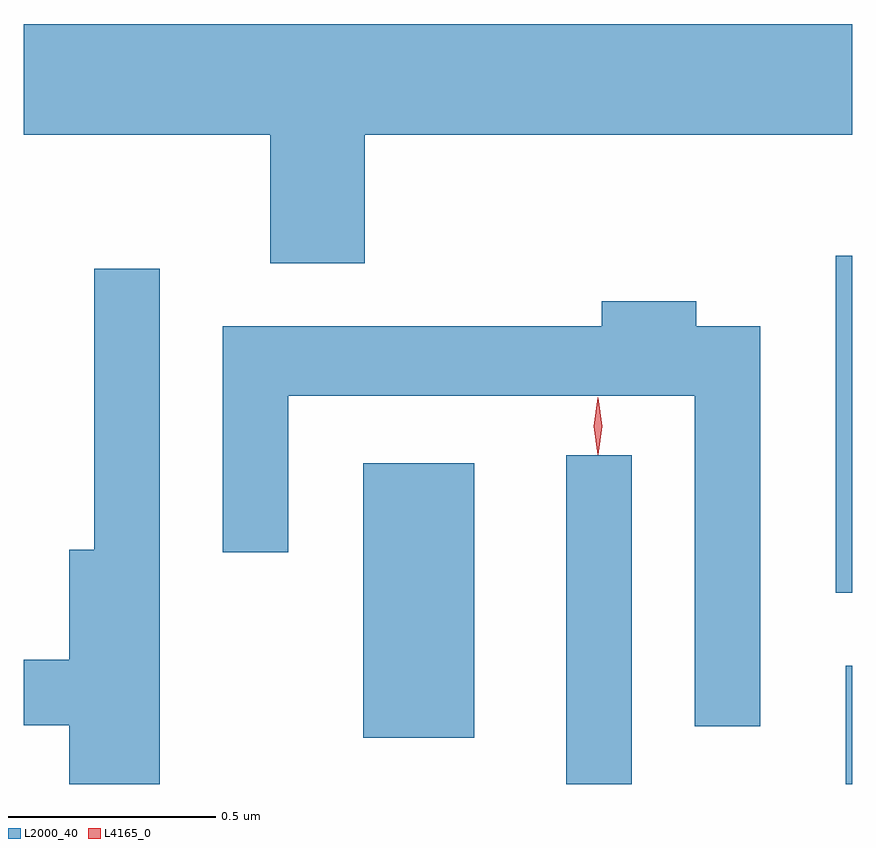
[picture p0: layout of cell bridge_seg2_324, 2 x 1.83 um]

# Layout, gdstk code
import gdstk
lib = gdstk.Library(unit=1e-6, precision=1e-09)
def R(c, l, rs):  # rectangles x0, y0, x1, y1
    for r in rs: c.add(gdstk.rectangle(r[:2], r[2:], *l))
def P(c, l, *ps):  # polygons
    for p in ps: c.add(gdstk.Polygon(p, *l))
L2000_40 = (2000, 40)
L4165_0 = (4165, 0)

bridge_seg2_324 = lib.new_cell('bridge_seg2_324')
R(bridge_seg2_324, L2000_40, [(411.856,1053.409,412.014,1054.203), (412.531,1053.409,412.546,1053.694), (411.366,1053.521,411.634,1054.184), (412.506,1053.871,412.546,1054.684)])
P(bridge_seg2_324, L2000_40, [(411.369,1054.976),(412.546,1054.976),(412.546,1055.244),(410.546,1055.244),(410.546,1054.976),(411.141,1054.976),(411.141,1054.666),(411.369,1054.666)],
  [(410.874,1054.653),(410.716,1054.653),(410.716,1053.974),(410.656,1053.974),(410.656,1053.709),(410.546,1053.709),(410.546,1053.551),(410.656,1053.551),(410.656,1053.409),(410.874,1053.409)],
  [(412.324,1054.514),(412.169,1054.514),(412.169,1054.574),(411.941,1054.574),(411.941,1054.514),(411.026,1054.514),(411.026,1053.968),(411.184,1053.968),(411.184,1054.346),(412.166,1054.346),(412.166,1053.548),(412.324,1053.548)])
P(bridge_seg2_324, L4165_0, [(411.932,1054.204),(411.932,1054.204),(411.922,1054.273),(411.932,1054.342),(411.932,1054.343),(411.933,1054.342),(411.942,1054.273),(411.933,1054.204)])

lib.write_gds('bridge_seg2_324.gds')
